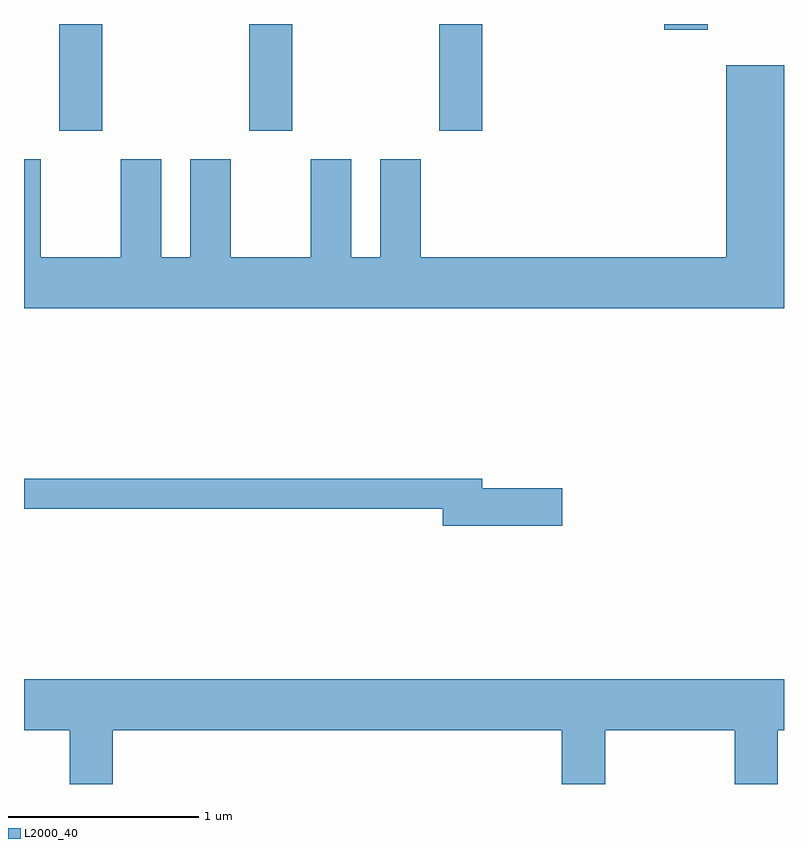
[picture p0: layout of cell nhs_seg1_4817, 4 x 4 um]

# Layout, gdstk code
import gdstk
lib = gdstk.Library(unit=1e-6, precision=1e-09)
def R(c, l, rs):  # rectangles x0, y0, x1, y1
    for r in rs: c.add(gdstk.rectangle(r[:2], r[2:], *l))
def A(c, l, x, y, w, h, nx, ny, dx, dy):  # array of equal rectangles
    R(c, l, [(x+i*dx, y+j*dy, x+i*dx+w, y+j*dy+h) for i in range(nx) for j in range(ny)])
def P(c, l, *ps):  # polygons
    for p in ps: c.add(gdstk.Polygon(p, *l))
L2000_40 = (2000, 40)

nhs_seg1_4817 = lib.new_cell('nhs_seg1_4817')
A(nhs_seg1_4817, L2000_40, 329.796, 927.151, 0.228, 0.561, 3, 1, 1, 0)
R(nhs_seg1_4817, L2000_40, [(332.981,927.681,333.209,927.712)])
P(nhs_seg1_4817, L2000_40, [(333.611,927.494),(333.306,927.494),(333.306,926.484),(331.699,926.484),(331.699,926.999),(331.486,926.999),(331.486,926.484),(331.334,926.484),(331.334,926.999),(331.121,926.999),(331.121,926.484),(330.699,926.484),(330.699,926.999),(330.486,926.999),(330.486,926.484),(330.334,926.484),(330.334,926.999),(330.121,926.999),(330.121,926.484),(329.699,926.484),(329.699,926.999),(329.611,926.999),(329.611,926.216),(333.611,926.216)],
  [(332.444,925.269),(332.024,925.269),(332.024,925.319),(329.611,925.319),(329.611,925.161),(331.816,925.161),(331.816,925.071),(332.444,925.071)],
  [(330.079,923.996),(332.441,923.996),(332.441,923.712),(332.669,923.712),(332.669,923.996),(333.351,923.996),(333.351,923.712),(333.579,923.712),(333.579,923.996),(333.611,923.996),(333.611,924.264),(329.611,924.264),(329.611,923.996),(329.851,923.996),(329.851,923.712),(330.079,923.712)])

lib.write_gds('nhs_seg1_4817.gds')
